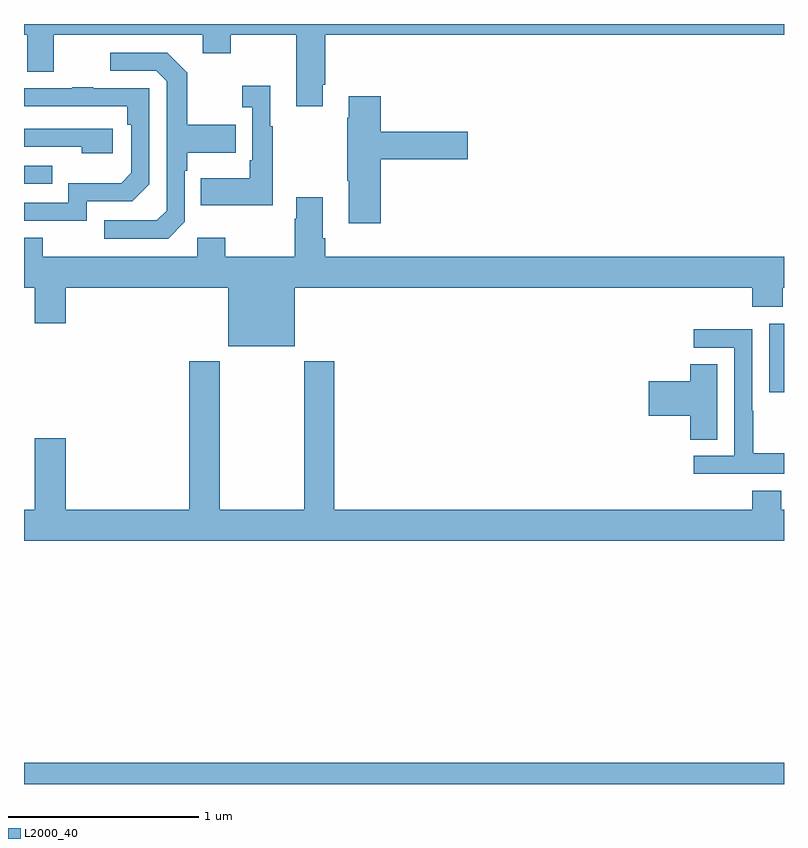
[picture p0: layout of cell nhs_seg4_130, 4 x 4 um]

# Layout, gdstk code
import gdstk
lib = gdstk.Library(unit=1e-6, precision=1e-09)
def R(c, l, rs):  # rectangles x0, y0, x1, y1
    for r in rs: c.add(gdstk.rectangle(r[:2], r[2:], *l))
def P(c, l, *ps):  # polygons
    for p in ps: c.add(gdstk.Polygon(p, *l))
L2000_40 = (2000, 40)

nhs_seg4_130 = lib.new_cell('nhs_seg4_130')
R(nhs_seg4_130, L2000_40, [(117,768.9,121,769.012), (120.923,770.961,121,771.322), (117,772.059,117.149,772.155)])
P(nhs_seg4_130, L2000_40, [(118.573,772.579),(118.586,772.579),(118.586,772.844),(121,772.844),(121,772.9),(117,772.9),(117,772.844),(117.017,772.844),(117.017,772.65),(117.157,772.65),(117.157,772.844),(117.941,772.844),(117.941,772.745),(118.089,772.745),(118.089,772.844),(118.433,772.844),(118.433,772.467),(118.573,772.467)],
  [(117.846,771.858),(117.846,772.127),(117.859,772.127),(117.859,772.223),(118.115,772.223),(118.115,772.371),(117.859,772.371),(117.859,772.643),(117.753,772.749),(117.453,772.749),(117.453,772.653),(117.696,772.653),(117.75,772.599),(117.75,771.918),(117.699,771.867),(117.423,771.867),(117.423,771.771),(117.759,771.771)],
  [(118.309,772.363),(118.297,772.363),(118.297,772.576),(118.149,772.576),(118.149,772.463),(118.2,772.463),(118.2,772.183),(118.188,772.183),(118.188,772.087),(117.931,772.087),(117.931,771.947),(118.309,771.947)],
  [(117.33,771.966),(117.57,771.966),(117.66,772.056),(117.66,772.563),(117.365,772.563),(117.365,772.568),(117.253,772.568),(117.253,772.563),(117,772.563),(117,772.467),(117.544,772.467),(117.544,772.37),(117.564,772.37),(117.564,772.116),(117.511,772.063),(117.234,772.063),(117.234,771.96),(117,771.96),(117,771.864),(117.33,771.864)],
  [(118.877,772.187),(119.335,772.187),(119.335,772.334),(118.877,772.334),(118.877,772.519),(118.709,772.519),(118.709,772.406),(118.702,772.406),(118.702,772.075),(118.709,772.075),(118.709,771.852),(118.877,771.852)],
  [(117.466,772.35),(117,772.35),(117,772.254),(117.305,772.254),(117.305,772.22),(117.466,772.22)],
  [(118.426,771.512),(120.833,771.512),(120.833,771.413),(120.993,771.413),(120.993,771.512),(121,771.512),(121,771.676),(118.586,771.676),(118.586,771.772),(118.573,771.772),(118.573,771.988),(118.433,771.988),(118.433,771.875),(118.426,771.875),(118.426,771.676),(118.059,771.676),(118.059,771.775),(117.912,771.775),(117.912,771.676),(117.099,771.676),(117.099,771.775),(117,771.775),(117,771.512),(117.056,771.512),(117.056,771.324),(117.22,771.324),(117.22,771.512),(118.076,771.512),(118.076,771.203),(118.426,771.203)],
  [(121,770.641),(120.837,770.641),(120.837,770.864),(120.834,770.864),(120.834,771.294),(120.525,771.294),(120.525,771.195),(120.738,771.195),(120.738,770.628),(120.525,770.628),(120.525,770.532),(121,770.532)],
  [(121,770.344),(120.985,770.344),(120.985,770.443),(120.833,770.443),(120.833,770.344),(118.634,770.344),(118.634,771.124),(118.474,771.124),(118.474,770.344),(118.029,770.344),(118.029,771.124),(117.869,771.124),(117.869,770.344),(117.22,770.344),(117.22,770.719),(117.056,770.719),(117.056,770.344),(117,770.344),(117,770.18),(121,770.18)],
  [(120.649,771.11),(120.506,771.11),(120.506,771.02),(120.288,771.02),(120.288,770.837),(120.506,770.837),(120.506,770.713),(120.649,770.713)])

lib.write_gds('nhs_seg4_130.gds')
